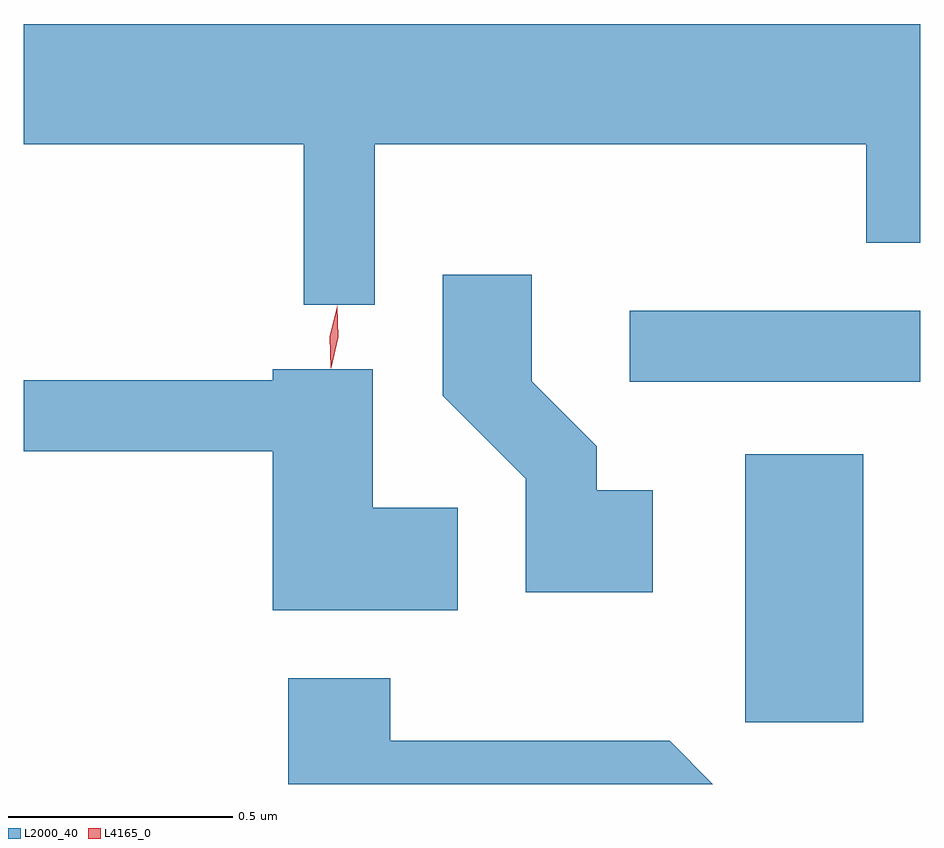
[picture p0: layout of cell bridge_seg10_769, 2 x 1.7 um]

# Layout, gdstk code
import gdstk
lib = gdstk.Library(unit=1e-6, precision=1e-09)
def R(c, l, rs):  # rectangles x0, y0, x1, y1
    for r in rs: c.add(gdstk.rectangle(r[:2], r[2:], *l))
def P(c, l, *ps):  # polygons
    for p in ps: c.add(gdstk.Polygon(p, *l))
L2000_40 = (2000, 40)
L4165_0 = (4165, 0)

bridge_seg10_769 = lib.new_cell('bridge_seg10_769')
R(bridge_seg10_769, L2000_40, [(628.891,2185.886,629.154,2186.484), (628.633,2186.646,629.281,2186.804)])
P(bridge_seg10_769, L2000_40, [(628.064,2187.176),(629.161,2187.176),(629.161,2186.956),(629.281,2186.956),(629.281,2187.444),(627.281,2187.444),(627.281,2187.176),(627.906,2187.176),(627.906,2186.818),(628.064,2186.818)],
  [(628.684,2186.404),(628.559,2186.404),(628.559,2186.502),(628.414,2186.647),(628.414,2186.884),(628.216,2186.884),(628.216,2186.614),(628.401,2186.429),(628.401,2186.176),(628.684,2186.176)],
  [(628.249,2186.364),(628.059,2186.364),(628.059,2186.674),(627.836,2186.674),(627.836,2186.649),(627.281,2186.649),(627.281,2186.491),(627.836,2186.491),(627.836,2186.136),(628.249,2186.136)],
  [(628.722,2185.844),(628.099,2185.844),(628.099,2185.984),(627.871,2185.984),(627.871,2185.748),(628.818,2185.748)])
P(bridge_seg10_769, L4165_0, [(627.967,2186.676),(627.966,2186.677),(627.964,2186.746),(627.98,2186.814),(627.98,2186.815),(627.98,2186.814),(627.983,2186.745),(627.967,2186.677)])

lib.write_gds('bridge_seg10_769.gds')
